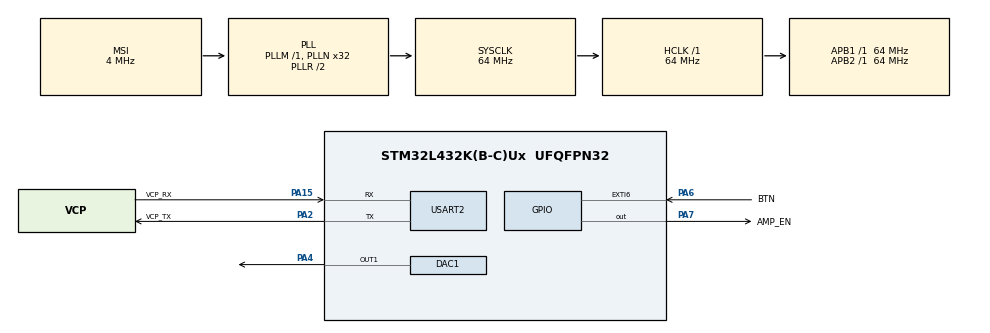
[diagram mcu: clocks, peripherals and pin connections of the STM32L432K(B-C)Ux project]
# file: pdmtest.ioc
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DAC1.DAC_Trigger-DAC_OUT1=DAC_TRIGGER_T6_TRGO
Dma.DAC_CH1.0.Direction=DMA_MEMORY_TO_PERIPH
Dma.DAC_CH1.0.Instance=DMA1_Channel3
Dma.DAC_CH1.0.MemDataAlignment=DMA_MDATAALIGN_HALFWORD
Dma.DAC_CH1.0.MemInc=DMA_MINC_ENABLE
Dma.DAC_CH1.0.Mode=DMA_CIRCULAR
Dma.DAC_CH1.0.PeriphDataAlignment=DMA_PDATAALIGN_HALFWORD
Dma.DAC_CH1.0.PeriphInc=DMA_PINC_DISABLE
Dma.DAC_CH1.0.Priority=DMA_PRIORITY_LOW
Dma.Request0=DAC_CH1
Mcu.Family=STM32L4
Mcu.Name=STM32L432K(B-C)Ux
Mcu.Package=UFQFPN32
NVIC.DMA1_Channel3_IRQn=true\:0\:0\:false\:false\:true\:false
NVIC.EXTI9_5_IRQn=true\:0\:0\:false\:false\:true\:true
NVIC.PriorityGroup=NVIC_PRIORITYGROUP_4
PA13\ (JTMS-SWDIO).GPIO_Label=SWDIO
PA13\ (JTMS-SWDIO).Mode=Serial_Wire
PA13\ (JTMS-SWDIO).Signal=SYS_JTMS-SWDIO
PA14\ (JTCK-SWCLK).GPIO_Label=SWCLK
PA14\ (JTCK-SWCLK).Mode=Serial_Wire
PA14\ (JTCK-SWCLK).Signal=SYS_JTCK-SWCLK
PA15\ (JTDI).GPIO_Label=VCP_RX
PA15\ (JTDI).Mode=Asynchronous
PA15\ (JTDI).Signal=USART2_RX
PA2.GPIO_Label=VCP_TX
PA2.Mode=Asynchronous
PA2.Signal=USART2_TX
PA4.Signal=COMP_DAC11_group
PA6.GPIO_Label=BTN
PA6.GPIO_ModeDefaultEXTI=GPIO_MODE_IT_FALLING
PA6.GPIO_PuPd=GPIO_PULLUP
PA6.Signal=GPXTI6
PA7.GPIO_Label=AMP_EN
PA7.PinState=GPIO_PIN_SET
PA7.Signal=GPIO_Output
PC14-OSC32_IN\ (PC14).Mode=LSE-External-Oscillator
PC14-OSC32_IN\ (PC14).Signal=RCC_OSC32_IN
PC15-OSC32_OUT\ (PC15).Mode=LSE-External-Oscillator
PC15-OSC32_OUT\ (PC15).Signal=RCC_OSC32_OUT
ProjectManager.HeapSize=0x200
ProjectManager.StackSize=0x400
ProjectManager.TargetToolchain=Makefile
RCC.AHBFreq_Value=64000000
RCC.APB1Freq_Value=64000000
RCC.APB1TimFreq_Value=64000000
RCC.APB2Freq_Value=64000000
RCC.APB2TimFreq_Value=64000000
RCC.CortexFreq_Value=64000000
RCC.HCLKFreq_Value=64000000
RCC.HSE_VALUE=8000000
RCC.HSI16_VALUE=16000000
RCC.HSI48_VALUE=48000000
RCC.HSI_VALUE=16000000
RCC.MSI_VALUE=4000000
RCC.PLLMUL=RCC_PLLMUL_4
RCC.PLLN=32
RCC.SYSCLKFreq_VALUE=64000000
RCC.SYSCLKSource=RCC_SYSCLKSOURCE_PLLCLK
RCC.VCOOutputFreq_Value=128000000
SH.COMP_DAC11_group.0=DAC1_OUT1,DAC_OUT1
TIM6.AutoReloadPreload=TIM_AUTORELOAD_PRELOAD_ENABLE
TIM6.Period=3999
TIM6.TIM_MasterOutputTrigger=TIM_TRGO_UPDATE
USART2.VirtualMode-Asynchronous=VM_ASYNC
VP_TIM6_VS_ClockSourceINT.Mode=Enable_Timer
board=NUCLEO-L432KC

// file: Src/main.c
/**
  ******************************************************************************
  * @file           : main.c
  * @brief          : Main program body
  ******************************************************************************
  ** This notice applies to any and all portions of this file
  * that are not between comment pairs USER CODE BEGIN and
  * USER CODE END. Other portions of this file, whether
  * inserted by the user or by software development tools
  * are owned by their respective copyright owners.
  *
  * COPYRIGHT(c) 2018 STMicroelectronics
  *
  * Redistribution and use in source and binary forms, with or without modification,
  * are permitted provided that the following conditions are met:
  *   1. Redistributions of source code must retain the above copyright notice,
  *      this list of conditions and the following disclaimer.
  *   2. Redistributions in binary form must reproduce the above copyright notice,
  *      this list of conditions and the following disclaimer in the documentation
  *      and/or other materials provided with the distribution.
  *   3. Neither the name of STMicroelectronics nor the names of its contributors
  *      may be used to endorse or promote products derived from this software
  *      without specific prior written permission.
  *
  * THIS SOFTWARE IS PROVIDED BY THE COPYRIGHT HOLDERS AND CONTRIBUTORS "AS IS"
  * AND ANY EXPRESS OR IMPLIED WARRANTIES, INCLUDING, BUT NOT LIMITED TO, THE
  * IMPLIED WARRANTIES OF MERCHANTABILITY AND FITNESS FOR A PARTICULAR PURPOSE ARE
  * DISCLAIMED. IN NO EVENT SHALL THE COPYRIGHT HOLDER OR CONTRIBUTORS BE LIABLE
  * FOR ANY DIRECT, INDIRECT, INCIDENTAL, SPECIAL, EXEMPLARY, OR CONSEQUENTIAL
  * DAMAGES (INCLUDING, BUT NOT LIMITED TO, PROCUREMENT OF SUBSTITUTE GOODS OR
  * SERVICES; LOSS OF USE, DATA, OR PROFITS; OR BUSINESS INTERRUPTION) HOWEVER
  * CAUSED AND ON ANY THEORY OF LIABILITY, WHETHER IN CONTRACT, STRICT LIABILITY,
  * OR TORT (INCLUDING NEGLIGENCE OR OTHERWISE) ARISING IN ANY WAY OUT OF THE USE
  * OF THIS SOFTWARE, EVEN IF ADVISED OF THE POSSIBILITY OF SUCH DAMAGE.
  *
  ******************************************************************************
  */
#include "main.h"
#include "stm32l4xx_hal.h"

/* USER CODE BEGIN Includes */
#include "board.h"
#include "PDMUtils.h"
#include "pdm2pcm_glo.h"
/* USER CODE END Includes */

DAC_HandleTypeDef hdac1;
DMA_HandleTypeDef hdma_dac_ch1;

TIM_HandleTypeDef htim6;

UART_HandleTypeDef huart2;

/* USER CODE BEGIN PV */
/* Private variables ---------------------------------------------------------*/
#define BTN_DEB_DELAY			(300)
#define DECIMATION				(64)

#define I16BUFF_SIZE				(128)
#define U16BUFF_SIZE				(128)

// interrupt flags
bool btn_int_flag = false;
// buffer full flags
bool dac_hcc_flag = false;
bool dac_fcc_flag = false;

unsigned btn_debounce = 0;

// general buffer
int16_t i16buff[I16BUFF_SIZE] = {0};
uint16_t u16buff[U16BUFF_SIZE] = {0};

// audio state
typedef enum
{
	ASTATE_IDLE = 0,
	ASTATE_PCM_SINE,
	ASTATE_PDM_SINE,
} audio_state;

audio_state AState = ASTATE_IDLE;

static PDM_Filter_Handler_t PDM_FilterHandler[1];
static PDM_Filter_Config_t PDM_FilterConfig[1];
/* USER CODE END PV */

void SystemClock_Config(void);
static void MX_GPIO_Init(void);
static void MX_DMA_Init(void);
static void MX_USART2_UART_Init(void);
static void MX_DAC1_Init(void);
static void MX_TIM6_Init(void);

/* USER CODE BEGIN PFP */
/* Private function prototypes -----------------------------------------------*/
void System_Init(void);
void Event_Handler(void);
void PDMDecoder_Init(void);
void PDMDecoder_Convert(uint8_t* pdmbuf, uint8_t* pcmbuf);

/* USER CODE END PFP */

int main(void)
{

	/* MCU Configuration----------------------------------------------------------*/

	/* Reset of all peripherals, Initializes the Flash interface and the Systick. */
	HAL_Init();

	/* Configure the system clock */
	SystemClock_Config();

	/* Initialize all configured peripherals */
	MX_GPIO_Init();
	MX_DMA_Init();
	MX_USART2_UART_Init();
	MX_DAC1_Init();
	MX_TIM6_Init();
	/* USER CODE BEGIN 2 */
	System_Init();
	/* USER CODE END 2 */

	/* Infinite loop */
	while (1)
	{

		/* USER CODE BEGIN 3 */
		Event_Handler();

	}
	/* USER CODE END 3 */

}

void SystemClock_Config(void)
{

	RCC_OscInitTypeDef RCC_OscInitStruct;
	RCC_ClkInitTypeDef RCC_ClkInitStruct;
	RCC_PeriphCLKInitTypeDef PeriphClkInit;

	/**Configure LSE Drive Capability
	*/
	HAL_PWR_EnableBkUpAccess();

	__HAL_RCC_LSEDRIVE_CONFIG(RCC_LSEDRIVE_LOW);

	/**Initializes the CPU, AHB and APB busses clocks
	*/
	RCC_OscInitStruct.OscillatorType = RCC_OSCILLATORTYPE_LSE|RCC_OSCILLATORTYPE_MSI;
	RCC_OscInitStruct.LSEState = RCC_LSE_ON;
	RCC_OscInitStruct.MSIState = RCC_MSI_ON;
	RCC_OscInitStruct.MSICalibrationValue = 0;
	RCC_OscInitStruct.MSIClockRange = RCC_MSIRANGE_6;
	RCC_OscInitStruct.PLL.PLLState = RCC_PLL_ON;
	RCC_OscInitStruct.PLL.PLLSource = RCC_PLLSOURCE_MSI;
	RCC_OscInitStruct.PLL.PLLM = 1;
	RCC_OscInitStruct.PLL.PLLN = 32;
	RCC_OscInitStruct.PLL.PLLP = RCC_PLLP_DIV7;
	RCC_OscInitStruct.PLL.PLLQ = RCC_PLLQ_DIV2;
	RCC_OscInitStruct.PLL.PLLR = RCC_PLLR_DIV2;
	if (HAL_RCC_OscConfig(&RCC_OscInitStruct) != HAL_OK)
	{
		_Error_Handler(__FILE__, __LINE__);
	}

	/**Initializes the CPU, AHB and APB busses clocks
	*/
	RCC_ClkInitStruct.ClockType = RCC_CLOCKTYPE_HCLK|RCC_CLOCKTYPE_SYSCLK
	                              |RCC_CLOCKTYPE_PCLK1|RCC_CLOCKTYPE_PCLK2;
	RCC_ClkInitStruct.SYSCLKSource = RCC_SYSCLKSOURCE_PLLCLK;
	RCC_ClkInitStruct.AHBCLKDivider = RCC_SYSCLK_DIV1;
	RCC_ClkInitStruct.APB1CLKDivider = RCC_HCLK_DIV1;
	RCC_ClkInitStruct.APB2CLKDivider = RCC_HCLK_DIV1;

	if (HAL_RCC_ClockConfig(&RCC_ClkInitStruct, FLASH_LATENCY_3) != HAL_OK)
	{
		_Error_Handler(__FILE__, __LINE__);
	}

	PeriphClkInit.PeriphClockSelection = RCC_PERIPHCLK_USART2;
	PeriphClkInit.Usart2ClockSelection = RCC_USART2CLKSOURCE_PCLK1;
	if (HAL_RCCEx_PeriphCLKConfig(&PeriphClkInit) != HAL_OK)
	{
		_Error_Handler(__FILE__, __LINE__);
	}

	/**Configure the main internal regulator output voltage
	*/
	if (HAL_PWREx_ControlVoltageScaling(PWR_REGULATOR_VOLTAGE_SCALE1) != HAL_OK)
	{
		_Error_Handler(__FILE__, __LINE__);
	}

	/**Configure the Systick interrupt time
	*/
	HAL_SYSTICK_Config(HAL_RCC_GetHCLKFreq()/1000);

	/**Configure the Systick
	*/
	HAL_SYSTICK_CLKSourceConfig(SYSTICK_CLKSOURCE_HCLK);

	/**Enable MSI Auto calibration
	*/
	HAL_RCCEx_EnableMSIPLLMode();

	/* SysTick_IRQn interrupt configuration */
	HAL_NVIC_SetPriority(SysTick_IRQn, 0, 0);
}

/* DAC1 init function */
static void MX_DAC1_Init(void)
{

	DAC_ChannelConfTypeDef sConfig;

	/**DAC Initialization
	*/
	hdac1.Instance = DAC1;
	if (HAL_DAC_Init(&hdac1) != HAL_OK)
	{
		_Error_Handler(__FILE__, __LINE__);
	}

	/**DAC channel OUT1 config
	*/
	sConfig.DAC_SampleAndHold = DAC_SAMPLEANDHOLD_DISABLE;
	sConfig.DAC_Trigger = DAC_TRIGGER_T6_TRGO;
	sConfig.DAC_OutputBuffer = DAC_OUTPUTBUFFER_ENABLE;
	sConfig.DAC_ConnectOnChipPeripheral = DAC_CHIPCONNECT_DISABLE;
	sConfig.DAC_UserTrimming = DAC_TRIMMING_FACTORY;
	if (HAL_DAC_ConfigChannel(&hdac1, &sConfig, DAC_CHANNEL_1) != HAL_OK)
	{
		_Error_Handler(__FILE__, __LINE__);
	}

}

/* TIM6 init function */
static void MX_TIM6_Init(void)
{

	TIM_MasterConfigTypeDef sMasterConfig;

	htim6.Instance = TIM6;
	htim6.Init.Prescaler = 0;
	htim6.Init.CounterMode = TIM_COUNTERMODE_UP;
	htim6.Init.Period = 3999;
	htim6.Init.AutoReloadPreload = TIM_AUTORELOAD_PRELOAD_ENABLE;
	if (HAL_TIM_Base_Init(&htim6) != HAL_OK)
	{
		_Error_Handler(__FILE__, __LINE__);
	}

	sMasterConfig.MasterOutputTrigger = TIM_TRGO_UPDATE;
	sMasterConfig.MasterSlaveMode = TIM_MASTERSLAVEMODE_DISABLE;
	if (HAL_TIMEx_MasterConfigSynchronization(&htim6, &sMasterConfig) != HAL_OK)
	{
		_Error_Handler(__FILE__, __LINE__);
	}

}

/* USART2 init function */
static void MX_USART2_UART_Init(void)
{

	huart2.Instance = USART2;
	huart2.Init.BaudRate = 115200;
	huart2.Init.WordLength = UART_WORDLENGTH_8B;
	huart2.Init.StopBits = UART_STOPBITS_1;
	huart2.Init.Parity = UART_PARITY_NONE;
	huart2.Init.Mode = UART_MODE_TX_RX;
	huart2.Init.HwFlowCtl = UART_HWCONTROL_NONE;
	huart2.Init.OverSampling = UART_OVERSAMPLING_16;
	huart2.Init.OneBitSampling = UART_ONE_BIT_SAMPLE_DISABLE;
	huart2.AdvancedInit.AdvFeatureInit = UART_ADVFEATURE_NO_INIT;
	if (HAL_UART_Init(&huart2) != HAL_OK)
	{
		_Error_Handler(__FILE__, __LINE__);
	}

}

static void MX_DMA_Init(void)
{
	/* DMA controller clock enable */
	__HAL_RCC_DMA1_CLK_ENABLE();

	/* DMA interrupt init */
	/* DMA1_Channel3_IRQn interrupt configuration */
	HAL_NVIC_SetPriority(DMA1_Channel3_IRQn, 0, 0);
	HAL_NVIC_EnableIRQ(DMA1_Channel3_IRQn);

}

/** Configure pins as
        * Analog
        * Input
        * Output
        * EVENT_OUT
        * EXTI
*/
static void MX_GPIO_Init(void)
{

	GPIO_InitTypeDef GPIO_InitStruct;

	/* GPIO Ports Clock Enable */
	__HAL_RCC_GPIOC_CLK_ENABLE();
	__HAL_RCC_GPIOA_CLK_ENABLE();

	/*Configure GPIO pin Output Level */
	HAL_GPIO_WritePin(AMP_EN_GPIO_Port, AMP_EN_Pin, GPIO_PIN_SET);

	/*Configure GPIO pin : BTN_Pin */
	GPIO_InitStruct.Pin = BTN_Pin;
	GPIO_InitStruct.Mode = GPIO_MODE_IT_FALLING;
	GPIO_InitStruct.Pull = GPIO_PULLUP;
	HAL_GPIO_Init(BTN_GPIO_Port, &GPIO_InitStruct);

	/*Configure GPIO pin : AMP_EN_Pin */
	GPIO_InitStruct.Pin = AMP_EN_Pin;
	GPIO_InitStruct.Mode = GPIO_MODE_OUTPUT_PP;
	GPIO_InitStruct.Pull = GPIO_NOPULL;
	GPIO_InitStruct.Speed = GPIO_SPEED_FREQ_LOW;
	HAL_GPIO_Init(AMP_EN_GPIO_Port, &GPIO_InitStruct);

	/* EXTI interrupt init*/
	HAL_NVIC_SetPriority(EXTI9_5_IRQn, 0, 0);
	HAL_NVIC_EnableIRQ(EXTI9_5_IRQn);

}

/* USER CODE BEGIN 4 */
void HAL_SYSTICK_Callback(void)
{
	if(btn_debounce)
	{
		btn_debounce--;
	}
}

void HAL_GPIO_EXTI_Callback(uint16_t GPIO_Pin)
{
	switch(GPIO_Pin)
	{
	case  BTN_Pin:
		if(btn_debounce == 0)
		{
			btn_int_flag = true;
		}
		break;

	default:
		break;
	}
}

/** DAC callbacks
 */
void HAL_DAC_ConvCpltCallbackCh1(DAC_HandleTypeDef* hdac)
{
	UNUSED(hdac);
	dac_fcc_flag = true;
}

void HAL_DAC_ConvHalfCpltCallbackCh1(DAC_HandleTypeDef* hdac)
{
	UNUSED(hdac);
	dac_hcc_flag = true;
}

void System_Init(void)
{
	DbgPrintf("\r\n\r\nSystem Init");

	// initialize PDM decoder
	PDMDecoder_Init();
}

void Event_Handler(void)
{
	static bool dac_run = 0;
	unsigned u16val;
	UNUSED(dac_run);

	if(btn_int_flag)
	{
		btn_int_flag = false;
		btn_debounce = BTN_DEB_DELAY;
		//DbgPrintf("\r\nButton pressed");

		switch(AState)
		{
			case ASTATE_IDLE:
				// get PCM sinewave data
				u16val = I16BUFF_SIZE;
				// PCM sine wave: mag = 30000, freq = 1000, srate = 16000
				GeneratePcmSine(30000, 1000, 16000, i16buff, &u16val);

				if(u16val)
				{
					DbgPrintf("\r\nPCM Sine(30000,1000,16000)\r\n");
					for(int i = 0; i < u16val; i++)
					{
						DbgPrintf("[%02d] %05d\r\n", i, i16buff[i]);
					}
				}
				// clear dac int flags
				dac_hcc_flag = false;
				dac_fcc_flag = false;
				// convert I16 to U16
				for(int i = 0; i < u16val; i++)
				{
					i16buff[i] = i16buff[i] ^ 0x8000;
				}

				// enable DAC DMA mode
				HAL_DAC_Start_DMA(&hdac1, DAC_CHANNEL_1, (uint32_t*)i16buff,
						u16val, DAC_ALIGN_12B_L);

				// start DAC by starting TIM6 trigger
				HAL_TIM_Base_Start(&htim6);
				DbgPrintf("\r\n>>Playing PCM sine wave");
				// proceed to next state
				AState = ASTATE_PCM_SINE;

				break;

			case ASTATE_PCM_SINE:
				// stop TIM6
				HAL_TIM_Base_Stop(&htim6);
				// stop DAC
				HAL_DAC_Stop_DMA(&hdac1, DAC_CHANNEL_1);
				DbgPrintf("\r\n<<Stop playing PCM sine wave\r\n");

				// PDM sine wave: freq = 1000, srate = 16000 * 64 (oversample)
				u16val = U16BUFF_SIZE;
				GeneratePdmSine(1000, 16000 * 64, u16buff, &u16val);

				if(u16val)
				{
					DbgPrintf("\r\nPDM Sine(1000,16000 * 64)\r\n");
					for(int i = 0; i < u16val; i++)
					{
						DbgPrintf("[%02d] 0x%04x\r\n", i, u16buff[i]);
					}
				}
				// apply 16 decimation CIC filter
				FilterCIC(u16buff, u16val, 16, i16buff);
				// print result
				DbgPrintf("\r\nCIC filter applied\r\n");
				// number of data will be the same
				// this will be 1/4 of the original frequency
				for(int i = 0; i < u16val; i++)
				{
					DbgPrintf("[%02d] %d\r\n", i, i16buff[i]);
				}

				// TODO: apply halfband filter (2 decim) twice

				// convert I16 to U16
				for(int i = 0; i < (u16val>>2); i++)
				{
					i16buff[i] = i16buff[i] ^ 0x8000;
				}
				// start DAC
				// enable DAC DMA mode
				HAL_DAC_Start_DMA(&hdac1, DAC_CHANNEL_1, (uint32_t*)i16buff,
						u16val, DAC_ALIGN_12B_L);
				// start DAC by starting TIM6 trigger
				HAL_TIM_Base_Start(&htim6);
				DbgPrintf("\r\n>>Start playing PDM sine wave");
				// proceed to next state
				AState = ASTATE_PDM_SINE;

				break;

			case ASTATE_PDM_SINE:
				// stop TIM6
				HAL_TIM_Base_Stop(&htim6);
				// stop DAC
				HAL_DAC_Stop_DMA(&hdac1, DAC_CHANNEL_1);
				DbgPrintf("\r\n<<Stop playing PDM sine wave...");
				// back to idle state
				AState = ASTATE_IDLE;
				DbgPrintf("Back to idle state");

				break;

			default:
				break;
		}
	}
	else if(dac_hcc_flag)
	{
		dac_hcc_flag = false;
		// do nothing here
	}
	else if(dac_fcc_flag)
	{
		dac_fcc_flag = false;
		// do nothing here
	}

}

void PDMDecoder_Init(void)
{
	__HAL_RCC_CRC_CLK_ENABLE();

	PDM_FilterHandler[0].bit_order = PDM_FILTER_BIT_ORDER_LSB;
	PDM_FilterHandler[0].endianness = PDM_FILTER_ENDIANNESS_LE;
	PDM_FilterHandler[0].high_pass_tap = 2122358088;
	PDM_FilterHandler[0].out_ptr_channels = 1;
	PDM_FilterHandler[0].in_ptr_channels = 1;
	PDM_Filter_Init(&PDM_FilterHandler[0]);

	PDM_FilterConfig[0].output_samples_number = 16;
	PDM_FilterConfig[0].mic_gain = 24;
	PDM_FilterConfig[0].decimation_factor = PDM_FILTER_DEC_FACTOR_64;
	PDM_Filter_setConfig(&PDM_FilterHandler[0], &PDM_FilterConfig[0]);
}

void PDMDecoder_Convert(uint8_t* pdmbuf, uint8_t* pcmbuf)
{
	PDM_Filter(pdmbuf, pcmbuf, &PDM_FilterHandler[0]);
}

/* USER CODE END 4 */

void _Error_Handler(char *file, int line)
{
	while(1)
	{
	}
}

/************************ (C) COPYRIGHT STMicroelectronics *****END OF FILE****/
